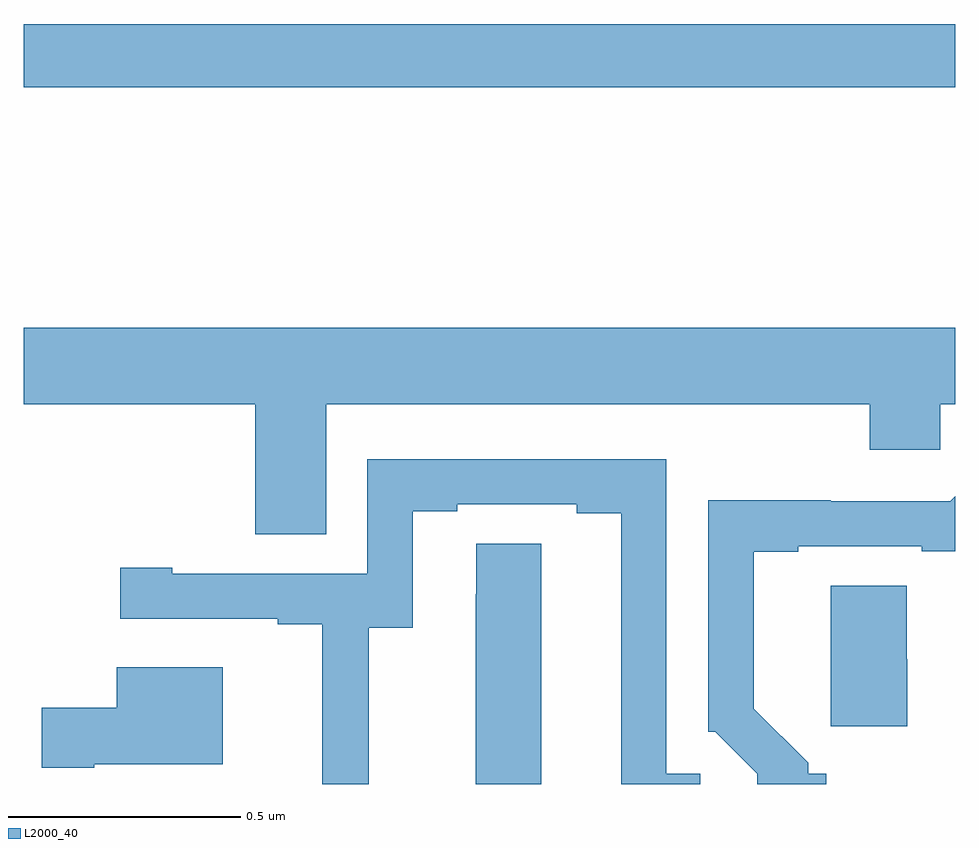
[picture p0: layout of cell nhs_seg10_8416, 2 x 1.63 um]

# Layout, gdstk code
import gdstk
lib = gdstk.Library(unit=1e-6, precision=1e-09)
def R(c, l, rs):  # rectangles x0, y0, x1, y1
    for r in rs: c.add(gdstk.rectangle(r[:2], r[2:], *l))
def P(c, l, *ps):  # polygons
    for p in ps: c.add(gdstk.Polygon(p, *l))
L2000_40 = (2000, 40)

nhs_seg10_8416 = lib.new_cell('nhs_seg10_8416')
R(nhs_seg10_8416, L2000_40, [(216,1300.996,218,1301.132)])
P(nhs_seg10_8416, L2000_40, [(216.649,1300.316),(217.817,1300.316),(217.817,1300.218),(217.968,1300.218),(217.968,1300.316),(218,1300.316),(218,1300.48),(216,1300.48),(216,1300.316),(216.497,1300.316),(216.497,1300.036),(216.649,1300.036)],
  [(216.741,1299.835),(216.835,1299.835),(216.835,1300.086),(216.931,1300.086),(216.931,1300.101),(217.187,1300.101),(217.187,1300.081),(217.283,1300.081),(217.283,1299.5),(217.453,1299.5),(217.453,1299.522),(217.38,1299.522),(217.38,1300.197),(216.738,1300.197),(216.738,1299.951),(216.319,1299.951),(216.319,1299.964),(216.207,1299.964),(216.207,1299.855),(216.545,1299.855),(216.545,1299.843),(216.641,1299.843),(216.641,1299.5),(216.741,1299.5)],
  [(217.723,1299.522),(217.684,1299.522),(217.684,1299.546),(217.567,1299.662),(217.567,1299.999),(217.663,1299.999),(217.663,1300.011),(217.928,1300.011),(217.928,1300),(218,1300),(218,1300.118),(217.989,1300.107),(217.733,1300.107),(217.733,1300.109),(217.47,1300.109),(217.47,1299.612),(217.485,1299.612),(217.575,1299.522),(217.575,1299.5),(217.723,1299.5)],
  [(217.111,1300.016),(216.972,1300.016),(216.972,1299.908),(216.971,1299.908),(216.971,1299.5),(217.111,1299.5)],
  [(217.897,1299.768),(217.896,1299.768),(217.896,1299.926),(217.733,1299.926),(217.733,1299.624),(217.897,1299.624)],
  [(216.151,1299.542),(216.427,1299.542),(216.427,1299.751),(216.2,1299.751),(216.2,1299.664),(216.039,1299.664),(216.039,1299.535),(216.151,1299.535)])

lib.write_gds('nhs_seg10_8416.gds')
